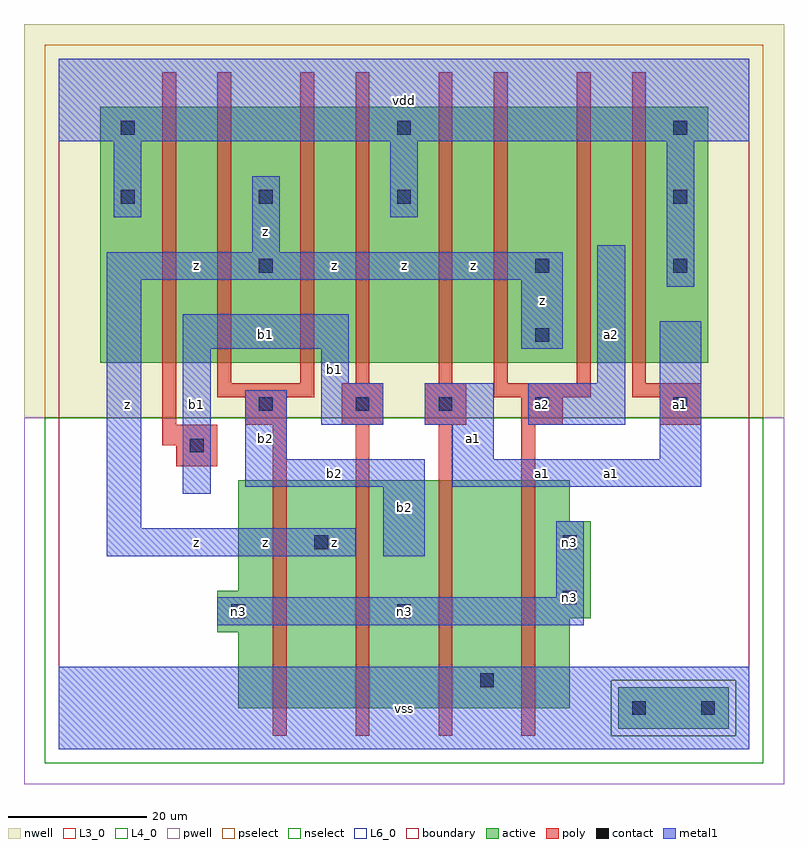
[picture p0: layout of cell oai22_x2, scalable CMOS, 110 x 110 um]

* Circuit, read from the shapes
.subckt oai22_x2 a1 a2 b1 b2 n3 vdd vss z
M1 z b2 n3 vss nfet w=33u l=2u
M2 n3 b1 z vss nfet w=33u l=2u
M3 vss a1 n3 vss nfet w=33u l=2u
M4 n3 a2 vss vss nfet w=33u l=2u
M5 n1 b1 vdd n2 pfet w=37u l=2u
M6 z b2 n1 n2 pfet w=37u l=2u
M7 n4 b2 z n2 pfet w=37u l=2u
M8 vdd b1 n4 n2 pfet w=37u l=2u
M9 n5 a1 vdd n2 pfet w=37u l=2u
M10 z a2 n5 n2 pfet w=37u l=2u
M11 n6 a2 z n2 pfet w=37u l=2u
M12 vdd a1 n6 n2 pfet w=37u l=2u
.ends

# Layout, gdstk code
import gdstk
lib = gdstk.Library(unit=1e-6, precision=1e-09)
def R(c, l, rs):  # rectangles x0, y0, x1, y1
    for r in rs: c.add(gdstk.rectangle(r[:2], r[2:], *l))
def A(c, l, x, y, w, h, nx, ny, dx, dy):  # array of equal rectangles
    R(c, l, [(x+i*dx, y+j*dy, x+i*dx+w, y+j*dy+h) for i in range(nx) for j in range(ny)])
L3_0 = (3, 0)
L4_0 = (4, 0)
L6_0 = (6, 0)
contact = (25, 0)
pwell = (41, 0)
nwell = (42, 0)
active = (43, 0)
pselect = (44, 0)
nselect = (45, 0)
poly = (46, 0)
metal1 = (49, 0)
boundary = (63, 0)

oai22_x2 = lib.new_cell('oai22_x2')
R(oai22_x2, L3_0, [(26,6,74,17), (23,17,74,19), (23,19,77,23), (26,23,77,33), (26,33,74,39)])
R(oai22_x2, L4_0, [(6,56,94,93)])
R(oai22_x2, L6_0, [(81,3,97,9)])
A(oai22_x2, contact, 69, 49, 2, 2, 1, 3, 0, 10)
A(oai22_x2, contact, 9, 79, 2, 2, 3, 1, 20, 0)
A(oai22_x2, contact, 9, 89, 2, 2, 3, 1, 40, 0)
R(oai22_x2, contact, [(83,5,85,7), (93,5,95,7), (61,9,63,11), (25,19,27,21), (49,19,51,21), (73,21,75,23), (37,29,39,31), (73,29,75,31), (19,43,21,45), (29,49,31,51), (43,49,45,51), (55,49,57,51), (89,49,91,51), (29,69,31,71), (89,69,91,71), (89,79,91,81)])
R(oai22_x2, pwell, [(-5,-5,105,48)])
R(oai22_x2, nwell, [(-5,48,105,105)])
R(oai22_x2, active, [(81,3,97,9), (26,6,74,17), (23,17,74,19), (23,19,77,23), (26,23,77,33), (26,33,74,39), (6,56,94,93)])
R(oai22_x2, pselect, [(80,2,98,10), (-2,48,102,102)])
R(oai22_x2, nselect, [(-2,-2,102,2), (-2,2,80,10), (98,2,102,10), (-2,10,102,48)])
A(oai22_x2, poly, 31, 2, 2, 45, 4, 1, 12, 0)
R(oai22_x2, poly, [(17,41,23,44), (15,44,23,47), (15,47,17,98), (27,47,33,51), (41,47,47,53), (53,47,59,53), (67,47,73,51), (87,47,93,51), (23,51,37,53), (63,51,77,53), (83,51,93,53), (23,53,25,98), (35,53,37,98), (43,53,45,98), (55,53,57,98), (63,53,65,98), (75,53,77,98), (83,53,85,98)])
R(oai22_x2, metal1, [(0,0,100,12), (23,18,76,22), (72,22,76,33), (7,28,43,32), (47,28,53,38), (7,32,12,68), (18,37,22,58), (27,38,53,42), (57,38,93,42), (27,42,33,52), (57,42,63,47), (87,42,93,62), (38,47,47,53), (53,47,63,53), (68,47,82,53), (38,53,42,58), (78,53,82,73), (18,58,42,63), (67,58,73,68), (88,67,92,88), (7,68,73,72), (28,72,32,83), (8,77,12,88), (48,77,52,88), (0,88,100,100)])
R(oai22_x2, boundary, [(0,0,100,100)])
oai22_x2.add(gdstk.Label('n3', (26,20), layer=49, texttype=0))
oai22_x2.add(gdstk.Label('n3', (50,20), layer=49, texttype=0))
oai22_x2.add(gdstk.Label('n3', (74,22), layer=49, texttype=0))
oai22_x2.add(gdstk.Label('n3', (74,30), layer=49, texttype=0))
oai22_x2.add(gdstk.Label('z', (10,50), layer=49, texttype=0))
oai22_x2.add(gdstk.Label('z', (20,30), layer=49, texttype=0))
oai22_x2.add(gdstk.Label('z', (30,30), layer=49, texttype=0))
oai22_x2.add(gdstk.Label('b1', (20,50), layer=49, texttype=0))
oai22_x2.add(gdstk.Label('b2', (30,45), layer=49, texttype=0))
oai22_x2.add(gdstk.Label('b1', (30,60), layer=49, texttype=0))
oai22_x2.add(gdstk.Label('z', (20,70), layer=49, texttype=0))
oai22_x2.add(gdstk.Label('z', (30,75), layer=49, texttype=0))
oai22_x2.add(gdstk.Label('vss', (50,6), layer=49, texttype=0))
oai22_x2.add(gdstk.Label('z', (40,30), layer=49, texttype=0))
oai22_x2.add(gdstk.Label('b2', (50,35), layer=49, texttype=0))
oai22_x2.add(gdstk.Label('b2', (40,40), layer=49, texttype=0))
oai22_x2.add(gdstk.Label('b1', (40,55), layer=49, texttype=0))
oai22_x2.add(gdstk.Label('z', (40,70), layer=49, texttype=0))
oai22_x2.add(gdstk.Label('z', (50,70), layer=49, texttype=0))
oai22_x2.add(gdstk.Label('vdd', (50,94), layer=49, texttype=0))
oai22_x2.add(gdstk.Label('a1', (70,40), layer=49, texttype=0))
oai22_x2.add(gdstk.Label('a1', (60,45), layer=49, texttype=0))
oai22_x2.add(gdstk.Label('a2', (70,50), layer=49, texttype=0))
oai22_x2.add(gdstk.Label('z', (60,70), layer=49, texttype=0))
oai22_x2.add(gdstk.Label('z', (70,65), layer=49, texttype=0))
oai22_x2.add(gdstk.Label('a1', (80,40), layer=49, texttype=0))
oai22_x2.add(gdstk.Label('a1', (90,50), layer=49, texttype=0))
oai22_x2.add(gdstk.Label('a2', (80,60), layer=49, texttype=0))

lib.write_gds('oai22_x2.gds')
